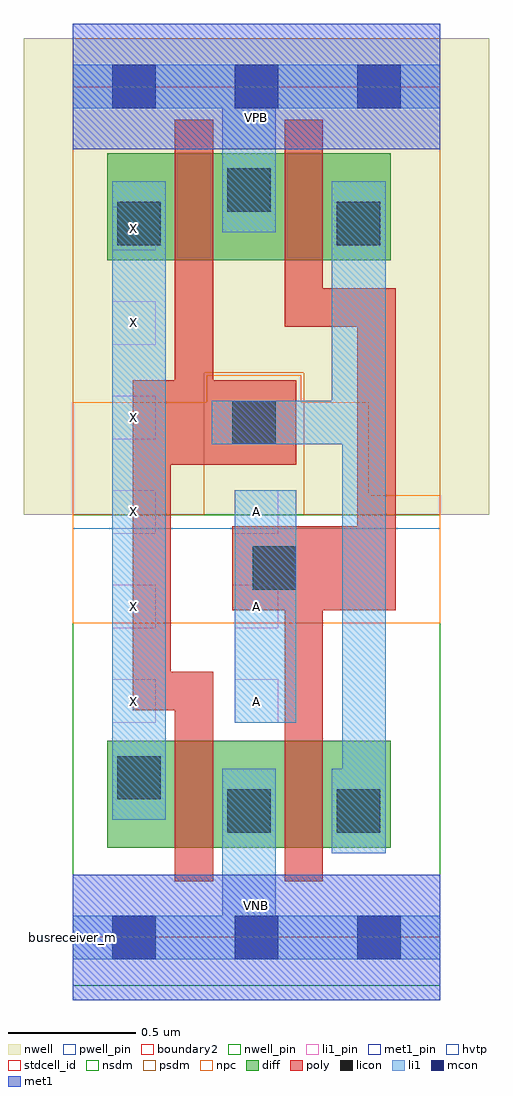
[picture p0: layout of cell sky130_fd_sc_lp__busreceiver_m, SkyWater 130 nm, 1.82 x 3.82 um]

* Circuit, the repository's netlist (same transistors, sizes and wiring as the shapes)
* Copyright 2020 The SkyWater PDK Authors
*
* Licensed under the Apache License, Version 2.0 (the "License");
* you may not use this file except in compliance with the License.
* You may obtain a copy of the License at
*
*     https://www.apache.org/licenses/LICENSE-2.0
*
* Unless required by applicable law or agreed to in writing, software
* distributed under the License is distributed on an "AS IS" BASIS,
* WITHOUT WARRANTIES OR CONDITIONS OF ANY KIND, either express or implied.
* See the License for the specific language governing permissions and
* limitations under the License.
*
* SPDX-License-Identifier: Apache-2.0

.SUBCKT sky130_fd_sc_lp__busreceiver_m A VGND VNB VPB VPWR X
*.PININFO A:I VGND:I VNB:I VPB:I VPWR:I X:O
MMIN1 Ab A VGND VNB sky130_fd_pr__nfet_01v8 m=1 w=0.42U l=0.15U mult=1 sa=0.265
+ sb=0.265 sd=0.28 area=0.063 perim=1.14
MMIN2 X Ab VGND VNB sky130_fd_pr__nfet_01v8 m=1 w=0.42U l=0.15U mult=1 sa=0.265
+ sb=0.265 sd=0.28 area=0.063 perim=1.14
MMIP1 Ab A VPWR VPB sky130_fd_pr__pfet_01v8_hvt m=1 w=0.42U l=0.15U mult=1 sa=0.265
+ sb=0.265 sd=0.28 area=0.063 perim=1.14
MMIP2 X Ab VPWR VPB sky130_fd_pr__pfet_01v8_hvt m=1 w=0.42U l=0.15U mult=1 sa=0.265
+ sb=0.265 sd=0.28 area=0.063 perim=1.14
.ENDS sky130_fd_sc_lp__busreceiver_m

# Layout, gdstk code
import gdstk
lib = gdstk.Library(unit=1e-6, precision=1e-09)
def R(c, l, rs):  # rectangles x0, y0, x1, y1
    for r in rs: c.add(gdstk.rectangle(r[:2], r[2:], *l))
def A(c, l, x, y, w, h, nx, ny, dx, dy):  # array of equal rectangles
    R(c, l, [(x+i*dx, y+j*dy, x+i*dx+w, y+j*dy+h) for i in range(nx) for j in range(ny)])
def P(c, l, *ps):  # polygons
    for p in ps: c.add(gdstk.Polygon(p, *l))
nwell_pin = (64, 16)
nwell = (64, 20)
diff = (65, 20)
poly = (66, 20)
licon = (66, 44)
li1_pin = (67, 16)
li1 = (67, 20)
mcon = (67, 44)
met1_pin = (68, 16)
met1 = (68, 20)
hvtp = (78, 44)
stdcell_id = (81, 4)
nsdm = (93, 44)
psdm = (94, 20)
npc = (95, 20)
pwell_pin = (122, 16)
boundary2 = (236, 0)

sky130_fd_sc_lp__busrece = lib.new_cell('sky130_fd_sc_lp__busreceiver_m')
R(sky130_fd_sc_lp__busrece, nwell_pin, [(0,3.085,1.44,3.33)])
R(sky130_fd_sc_lp__busrece, nwell, [(-0.19,1.655,1.63,3.52)])
R(sky130_fd_sc_lp__busrece, diff, [(0.135,0.35,1.245,0.77), (0.135,2.65,1.245,3.07)])
P(sky130_fd_sc_lp__busrece, poly, [(0.875,2.18),(0.55,2.18),(0.55,3.2),(0.4,3.2),(0.4,2.18),(0.235,2.18),(0.235,0.89),(0.4,0.89),(0.4,0.22),(0.55,0.22),(0.55,1.04),(0.385,1.04),(0.385,1.85),(0.875,1.85)],
  [(1.265,2.54),(0.98,2.54),(0.98,3.2),(0.83,3.2),(0.83,2.39),(1.115,2.39),(1.115,1.61),(0.625,1.61),(0.625,1.28),(0.83,1.28),(0.83,0.22),(0.98,0.22),(0.98,1.28),(1.265,1.28)])
R(sky130_fd_sc_lp__busrece, licon, [(0.605,0.41,0.775,0.58), (1.035,0.41,1.205,0.58), (0.175,0.54,0.345,0.71), (0.705,1.36,0.875,1.53), (0.625,1.93,0.795,2.1), (0.175,2.71,0.345,2.88), (1.035,2.71,1.205,2.88), (0.605,2.84,0.775,3.01)])
A(sky130_fd_sc_lp__busrece, li1_pin, 0.155, 0.84, 0.17, 0.17, 1, 6, 0, 0.37)
A(sky130_fd_sc_lp__busrece, li1_pin, 0.635, 0.84, 0.17, 0.17, 1, 3, 0, 0.37)
R(sky130_fd_sc_lp__busrece, li1, [(0.155,0.46,0.365,2.96), (0.635,0.84,0.875,1.75)])
P(sky130_fd_sc_lp__busrece, li1, [(0.585,2.76),(0.585,3.245),(0,3.245),(0,3.415),(1.44,3.415),(1.44,3.245),(0.795,3.245),(0.795,2.76)],
  [(0.585,0.085),(0.585,0.66),(0.795,0.66),(0.795,0.085),(1.44,0.085),(1.44,-0.085),(0,-0.085),(0,0.085)],
  [(1.015,2.1),(1.015,2.96),(1.225,2.96),(1.225,0.33),(1.015,0.33),(1.015,0.66),(1.055,0.66),(1.055,1.93),(0.545,1.93),(0.545,2.1)])
A(sky130_fd_sc_lp__busrece, mcon, 0.155, -0.085, 0.17, 0.17, 3, 2, 0.48, 3.33)
R(sky130_fd_sc_lp__busrece, met1_pin, [(0,0,1.44,0.245), (0,3.085,1.44,3.33)])
R(sky130_fd_sc_lp__busrece, met1, [(0,-0.245,1.44,0.245), (0,3.085,1.44,3.575)])
R(sky130_fd_sc_lp__busrece, hvtp, [(0,1.6,1.44,3.33)])
R(sky130_fd_sc_lp__busrece, stdcell_id, [(0,0,1.44,3.33)])
R(sky130_fd_sc_lp__busrece, nsdm, [(0,-0.19,1.44,1.655)])
P(sky130_fd_sc_lp__busrece, psdm, [(1.44,3.52),(0,3.52),(0,1.655),(0.515,1.655),(0.515,2.21),(0.905,2.21),(0.905,1.655),(1.44,1.655)])
P(sky130_fd_sc_lp__busrece, npc, [(1.44,1.73),(1.16,1.73),(1.16,2.095),(0.895,2.095),(0.895,2.2),(0.525,2.2),(0.525,2.095),(0,2.095),(0,1.23),(1.44,1.23)])
R(sky130_fd_sc_lp__busrece, pwell_pin, [(0,0,1.44,0.245)])
R(sky130_fd_sc_lp__busrece, boundary2, [(0,0,1.44,3.33)])
sky130_fd_sc_lp__busrece.add(gdstk.Label('VNB', (0.72,0.123), layer=64, texttype=59))
sky130_fd_sc_lp__busrece.add(gdstk.Label('VPB', (0.72,3.208), layer=64, texttype=5))
sky130_fd_sc_lp__busrece.add(gdstk.Label('busreceiver_m', (0,0), layer=83, texttype=44))
sky130_fd_sc_lp__busrece.add(gdstk.Label('VPWR', (0.72,3.208), layer=68, texttype=5))
sky130_fd_sc_lp__busrece.add(gdstk.Label('VGND', (0.72,0.123), layer=68, texttype=5))
sky130_fd_sc_lp__busrece.add(gdstk.Label('A', (0.72,0.925), layer=67, texttype=5))
sky130_fd_sc_lp__busrece.add(gdstk.Label('A', (0.72,1.295), layer=67, texttype=5))
sky130_fd_sc_lp__busrece.add(gdstk.Label('A', (0.72,1.665), layer=67, texttype=5))
sky130_fd_sc_lp__busrece.add(gdstk.Label('X', (0.24,0.925), layer=67, texttype=5))
sky130_fd_sc_lp__busrece.add(gdstk.Label('X', (0.24,1.295), layer=67, texttype=5))
sky130_fd_sc_lp__busrece.add(gdstk.Label('X', (0.24,1.665), layer=67, texttype=5))
sky130_fd_sc_lp__busrece.add(gdstk.Label('X', (0.24,2.035), layer=67, texttype=5))
sky130_fd_sc_lp__busrece.add(gdstk.Label('X', (0.24,2.405), layer=67, texttype=5))
sky130_fd_sc_lp__busrece.add(gdstk.Label('X', (0.24,2.775), layer=67, texttype=5))

lib.write_gds('sky130_fd_sc_lp__busreceiver_m.gds')
